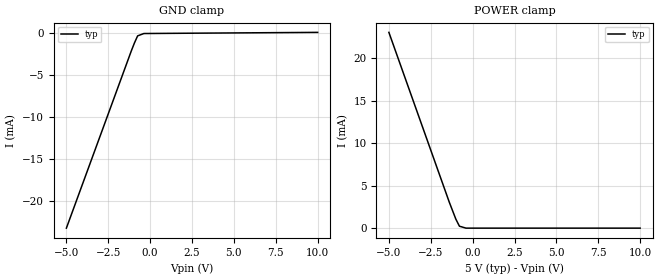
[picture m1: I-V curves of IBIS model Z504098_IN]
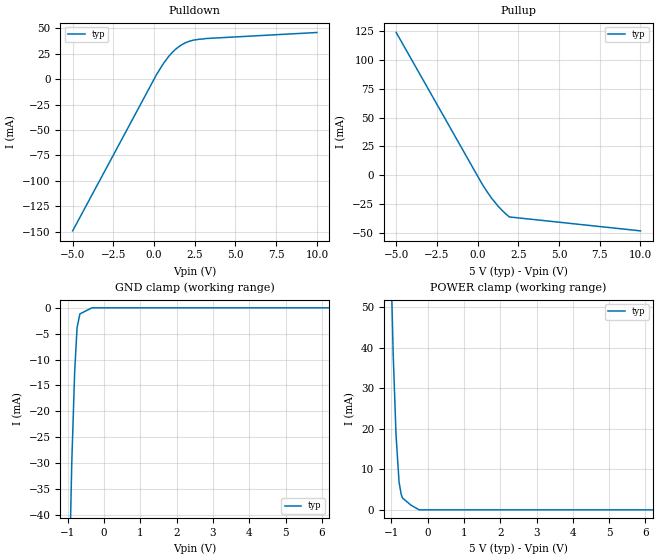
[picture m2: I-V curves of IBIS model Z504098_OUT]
| YOU ARE ONLY AUTHORIZED TO USE THIS SOFTWARE
| ACCORDING TO LICENSOR'S LICENSE RESTRICTIONS.
[IBIS Ver] 3.1
[File Name] mc54hc4017j.ibs
[File Rev] 2.0
[Source] Measured and created by ICX Technology
[Date] Friday 7/14/00 9:08:06 AM
[Copyright]
| (C) COPYRIGHT 1993-2000
| MENTOR GRAPHICS CORPORATION
| ICX STANDARD LIBRARY, ICX PROJECT MODELING,
| ICX CUSTOM MODELING, ICX VENDOR MODEL
| ALL RIGHTS RESERVED.
| THE FOLLOWING ARE TRADEMARKS OR SERVICE MARKS OF
| MENTOR GRAPHICS CORPORATION:ICX (R), ICX STANDARD
| LIBRARY(R), ICX PROJECT MODELING(R), ICX CUSTOM
| MODELING(R), qualityIBIS(TM), MODELVIEWER(TM),
| AND MODELEDITOR(TM)
| ALL COPIES OF SOFTWARE, INCLUDING BUT NOT LIMITED TO
| ANY MODIFICATIONS, ENHANCEMENTS OR DERIVATIVE WORKS,
| MUST CONTAIN ALL MENTOR GRAPHICS CORPORATION'S
| NOTICES AND LEGENDS, INCLUDING THOSE EMBEDDED IN
| SOFTWARE AND THOSE AFFIXED TO SOFTWARE MEDIUM
| AND CONTAINER, AS RECEIVED FROM MENTOR GRAPHICS
| CORPORATION.
|  ZAP Model Builder 2.7
[Component] MC54HC4017J
[Manufacturer] OnSemiconductor
[Package]
| variable   typ   min   max
R_pkg  .212ohms NA NA
L_pkg  4.758nH NA NA
C_pkg  1.944pF NA NA
[Pin] signal_name  model_name  R_pin  L_pin C_pin
1 Y5 Z504098_OUT .224 7.258n 2.683p
2 Y1 Z504098_OUT .216 5.258n 2.19p
3 Y0 Z504098_OUT .208 3.758n 1.697p
4 Y2 Z504098_OUT .2 2.758n 1.204p
5 Y6 Z504098_OUT .2 2.758n 1.204p
6 Y7 Z504098_OUT .208 3.758n 1.697p
7 Y3 Z504098_OUT .216 5.258n 2.19p
8 GND GND .224 7.258n 2.683p
9 Y8 Z504098_OUT .224 7.258n 2.683p
10 Y4 Z504098_OUT .216 5.258n 2.19p
11 Y9 Z504098_OUT .208 3.758n 1.697p
12 CO Z504098_OUT .2 2.758n 1.204p
13 _CLKEN Z504098_IN .2 2.758n 1.204p
14 CLK Z504098_IN .208 3.758n 1.697p
15 CLR Z504098_IN .216 5.258n 2.19p
16 VCC POWER .224 7.258n 2.683p
| Models and submodels in the file (2): Z504098_IN (Input), Z504098_OUT (Output)
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| (C) COPYRIGHT 1993-2000
| MENTOR GRAPHICS CORPORATION
| ICX STANDARD LIBRARY, ICX PROJECT MODELING,
| ICX CUSTOM MODELING, ICX VENDOR MODEL
| ALL RIGHTS RESERVED.
| THE FOLLOWING ARE TRADEMARKS OR SERVICE MARKS OF
| MENTOR GRAPHICS CORPORATION:ICX (R), ICX STANDARD
| LIBRARY(R), ICX PROJECT MODELING(R), ICX CUSTOM
| MODELING(R), qualityIBIS(TM), MODELVIEWER(TM),
| AND MODELEDITOR(TM)
| ALL COPIES OF SOFTWARE, INCLUDING BUT NOT LIMITED TO
| ANY MODIFICATIONS, ENHANCEMENTS OR DERIVATIVE WORKS,
| MUST CONTAIN ALL MENTOR GRAPHICS CORPORATION'S
| NOTICES AND LEGENDS, INCLUDING THOSE EMBEDDED IN
| SOFTWARE AND THOSE AFFIXED TO SOFTWARE MEDIUM
| AND CONTAINER, AS RECEIVED FROM MENTOR GRAPHICS
| CORPORATION.
| Model Application Version 1.89 2/18/99.
[Model] Z504098_IN
Model_type Input
Vinl = 1.000V
Vinh = 3.500V
C_comp 4.000pF NA NA
| variable typ   min   max
[Voltage Range] 5.000V NA NA
[GND Clamp Reference] 0.000V NA NA
[POWER Clamp Reference] 5.000V NA NA
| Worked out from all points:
|   GND clamp passes 1 mA (typ) near -0.90 V on its own axis
|   POWER clamp passes 1 mA (typ) near -0.99 V on its own axis
[GND Clamp]
-5V       -23.18mA   NA         NA
-1.128V   -2.138mA   NA         NA
-937.2mV  -1.169mA   NA         NA
-746.5mV  -328.3uA   NA         NA
-373.3mV  -48.74uA   NA         NA
10V       88.06uA    NA         NA
[POWER Clamp]
-5V       23.08mA    NA         NA
-1.397V   3.076mA    NA         NA
-1.001V   1.054mA    NA         NA
-788mV    228.1uA    NA         NA
-394mV    0A         NA         NA
10V       0A         NA         NA
| (C) COPYRIGHT 1993-2000
| MENTOR GRAPHICS CORPORATION
| ICX STANDARD LIBRARY, ICX PROJECT MODELING,
| ICX CUSTOM MODELING, ICX VENDOR MODEL
| ALL RIGHTS RESERVED.
| THE FOLLOWING ARE TRADEMARKS OR SERVICE MARKS OF
| MENTOR GRAPHICS CORPORATION:ICX (R), ICX STANDARD
| LIBRARY(R), ICX PROJECT MODELING(R), ICX CUSTOM
| MODELING(R), qualityIBIS(TM), MODELVIEWER(TM),
| AND MODELEDITOR(TM)
| ALL COPIES OF SOFTWARE, INCLUDING BUT NOT LIMITED TO
| ANY MODIFICATIONS, ENHANCEMENTS OR DERIVATIVE WORKS,
| MUST CONTAIN ALL MENTOR GRAPHICS CORPORATION'S
| NOTICES AND LEGENDS, INCLUDING THOSE EMBEDDED IN
| SOFTWARE AND THOSE AFFIXED TO SOFTWARE MEDIUM
| AND CONTAINER, AS RECEIVED FROM MENTOR GRAPHICS
| CORPORATION.
| Model Application Version 1.89 2/18/99.
[Model] Z504098_OUT
Model_type Output
Vref=0.000V
Rref=500.0Mohms
Cref=50.00pF
Vmeas=2.500V
C_comp 8.000pF NA NA
| variable typ   min   max
[Voltage Range] 5.000V NA NA
[POWER Clamp Reference] 5.000V NA NA
[Pullup Reference] 5.000V NA NA
[Pulldown Reference] 0.000V NA NA
[GND Clamp Reference] 0.000V NA NA
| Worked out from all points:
|   slope of the pulldown table from 0 to 0.75 V, typ, clamps not added: 39 ohm
|   slope of the pullup table from 0 to 0.75 V, typ, clamps not added: 44.2 ohm
|   POWER clamp passes 1 mA (typ) near -0.43 V on its own axis
[GND Clamp]
-5V       -1.372A    NA         NA
-888.4mV  -30.03mA   NA         NA
-808mV    -12.3mA    NA         NA
-742.1mV  -3.819mA   NA         NA
-663.9mV  -1.173mA   NA         NA
-332mV    0A         NA         NA
10V       0A         NA         NA
[Pulldown]
-5V       -149.3mA   NA         NA
165.8mV   4.868mA    NA         NA
572.5mV   15.31mA    NA         NA
918.6mV   22.76mA    NA         NA
1.313V    29.22mA    NA         NA
1.943V    35.8mA     NA         NA
2.759V    39.24mA    NA         NA
10V       45.83mA    NA         NA
[Pullup]
-5V       123.8mA    NA         NA
254mV     -7.216mA   NA         NA
588mV     -14.6mA    NA         NA
859mV     -20.05mA   NA         NA
1.27V     -27.18mA   NA         NA
1.587V    -31.8mA    NA         NA
1.943V    -36.28mA   NA         NA
10V       -48.37mA   NA         NA
[POWER Clamp]
-5V       1.532A     NA         NA
-947mV    38.38mA    NA         NA
-869mV    18.52mA    NA         NA
-786mV    6.905mA    NA         NA
-728mV    3.851mA    NA         NA
-689mV    2.913mA    NA         NA
-459mV    1.158mA    NA         NA
-229.5mV  0A         NA         NA
10V       0A         NA         NA
[Ramp]
| variable typ min max
dV/dt_r 2.789/1.637n NA NA
dV/dt_f 2.789/1.459n NA NA
R_load = 500.0Ohms
